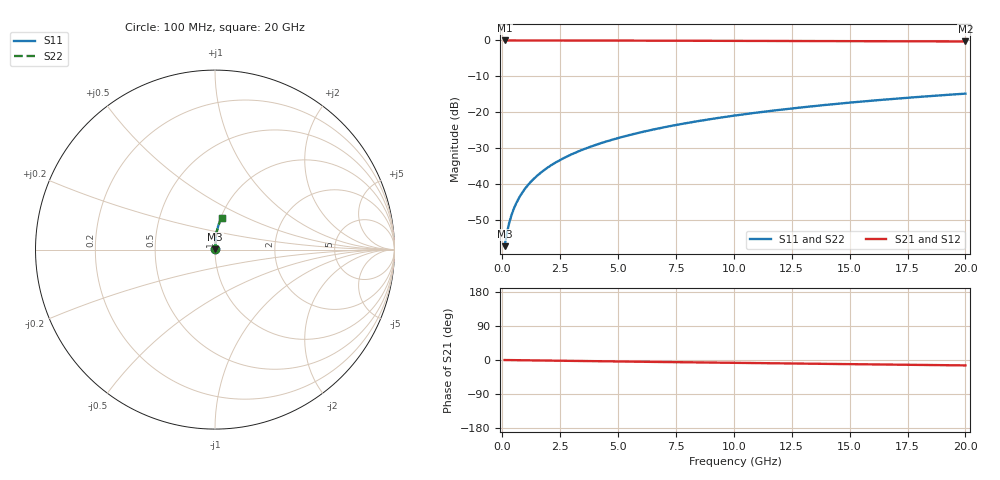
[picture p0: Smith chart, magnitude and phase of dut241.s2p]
! Touchstone file exported from HFSS 2024.1.0
!  File:  C:/UserFiles/LocalFiles/RDL_TSV_Batchsim/temp_RDL_bottom_241_1778701297.aedt
!  Generated:  03:44:04 AM May 14, 2026
!  Design:  RDL_bottom
!  Project:  temp_RDL_bottom_241_1778701297
!  Setup:  Setup1
!  Solution:  Sweep
! Variables:
!  dtsv = 10.80580581um
!  hbump = 3um
!  htsv = 84.54um
!  ldown = 145.71um
!  lrdl = 100um
!  p = 40
!  p1 = 53.72um
!  rhole = 1um
!  t = 450um
!  tdown = 3.6um
!  trdl = 3.915915916um
!  wdown = 17.64um
!  wrdl = 20um
# GHz S MA R 50.000000
! Terminal data exported
! Port[1] = RDL1_T1
! Port[2] = RDL1_T2
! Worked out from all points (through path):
!   200 points, 100 MHz to 20 GHz, reference 50 ohm
!   highest |S21| = -0.01 dB at 100 MHz (marker M1); lowest = -0.3 dB at 20 GHz (marker M2)
!   group delay of S21, straight-line fit = 1.97 ps
!   lowest |S11| = -57.4 dB at 100 MHz (marker M3), VSWR 1.00, Z = 50.1 + j0.0901 ohm
!   |S11| at or under -10 dB: start of sweep to end of sweep
!   |S22| runs from -57.4 to -14.8 dB; largest |S21 - S12| = 3.2e-15
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0.1  0.00135 41.8  0.999 -0.1  0.999 -0.1  0.00135 41.8
! Gamma 0 0 0 0
! Port Impedance 50 0 50 0
0.2  0.002063 59.9  0.999 -0.2  0.999 -0.2  0.002063 59.9
0.3  0.002862 68.1  0.9989 -0.2  0.9989 -0.2  0.002862 68.1
0.4  0.003681 72.7  0.9989 -0.3  0.9989 -0.3  0.003681 72.7
0.5  0.004507 75.6  0.9988 -0.4  0.9988 -0.4  0.004507 75.6
0.6  0.005338 77.7  0.9988 -0.5  0.9988 -0.5  0.005338 77.7
0.8  0.007009 80.4  0.9987 -0.6  0.9987 -0.6  0.007009 80.4
1.1  0.009535 82.8  0.9986 -0.9  0.9986 -0.9  0.009535 82.8
1.5  0.01293 84.5  0.9984 -1.2  0.9984 -1.2  0.01293 84.5
1.8  0.01549 85.3  0.9982 -1.4  0.9982 -1.4  0.01549 85.3
2.1  0.01806 85.9  0.998 -1.7  0.998 -1.7  0.01806 85.9
2.7  0.02324 86.6  0.9975 -2.1  0.9975 -2.1  0.02324 86.6
3.5  0.0302 87.1  0.9966 -2.7  0.9966 -2.7  0.0302 87.1
4.2  0.03636 87.3  0.9958 -3.3  0.9958 -3.3  0.03636 87.3
5  0.04346 87.3  0.9947 -3.9  0.9947 -3.9  0.04346 87.3
5.9  0.05155 87.1  0.9933 -4.5  0.9933 -4.5  0.05155 87.1
6.8  0.05971 86.9  0.9919 -5.2  0.9919 -5.2  0.05971 86.9
8.3  0.07346 86.2  0.9893 -6.3  0.9893 -6.3  0.07346 86.2
10.1  0.09012 85.2  0.9861 -7.6  0.9861 -7.6  0.09012 85.2
13.4  0.1208 83.1  0.9801 -9.8  0.9801 -9.8  0.1208 83.1
16.7  0.1512 80.7  0.9738 -12.1  0.9738 -12.1  0.1512 80.7
20  0.1811 78.4  0.9671 -14.3  0.9671 -14.3  0.1811 78.4
